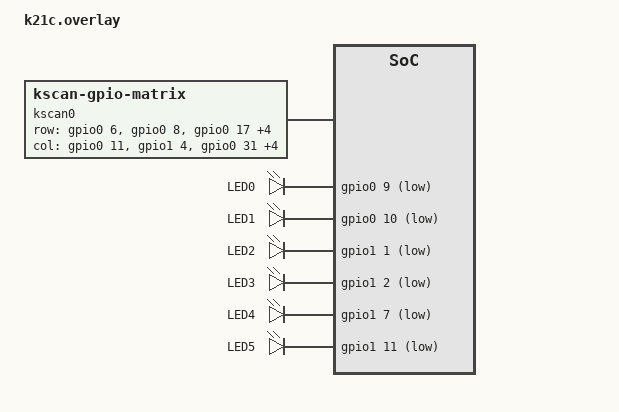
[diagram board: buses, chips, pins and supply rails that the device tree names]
#include <dt-bindings/gpio/gpio.h>
#include <dt-bindings/zmk/keys.h>
/ {
  chosen { zmk,kscan = &kscan0; };
  kscan0: kscan-matrix {
    compatible = "zmk,kscan-gpio-matrix";
    diode-direction = "col2row";
    row-gpios
      = <&gpio0 6 GPIO_ACTIVE_HIGH>, <&gpio0 8 GPIO_ACTIVE_HIGH>,
        <&gpio0 17 GPIO_ACTIVE_HIGH>, <&gpio0 20 GPIO_ACTIVE_HIGH>,
        <&gpio0 22 GPIO_ACTIVE_HIGH>, <&gpio0 24 GPIO_ACTIVE_HIGH>,
        <&gpio1 0 GPIO_ACTIVE_HIGH>;
    col-gpios
      = <&gpio0 11 (GPIO_ACTIVE_HIGH|GPIO_PULL_DOWN)>, <&gpio1 4 (GPIO_ACTIVE_HIGH|GPIO_PULL_DOWN)>,
        <&gpio0 31 (GPIO_ACTIVE_HIGH|GPIO_PULL_DOWN)>, <&gpio0 29 (GPIO_ACTIVE_HIGH|GPIO_PULL_DOWN)>,
        <&gpio0 2 (GPIO_ACTIVE_HIGH|GPIO_PULL_DOWN)>, <&gpio1 15 (GPIO_ACTIVE_HIGH|GPIO_PULL_DOWN)>,
        <&gpio1 13 (GPIO_ACTIVE_HIGH|GPIO_PULL_DOWN)>;
  };
  leds: leds {
    compatible = "gpio-leds";
    led0: led_0 { label = "LED0"; gpios = <&gpio0 9 GPIO_ACTIVE_LOW>; };
    led1: led_1 { label = "LED1"; gpios = <&gpio0 10 GPIO_ACTIVE_LOW>; };
    led2: led_2 { label = "LED2"; gpios = <&gpio1 1 GPIO_ACTIVE_LOW>; };
    led3: led_3 { label = "LED3"; gpios = <&gpio1 2 GPIO_ACTIVE_LOW>; };
    led4: led_4 { label = "LED4"; gpios = <&gpio1 7 GPIO_ACTIVE_LOW>; };
    led5: led_5 { label = "LED5"; gpios = <&gpio1 11 GPIO_ACTIVE_LOW>; };
  };
};

&uicr {
  nfct-pins-as-gpios;
};
